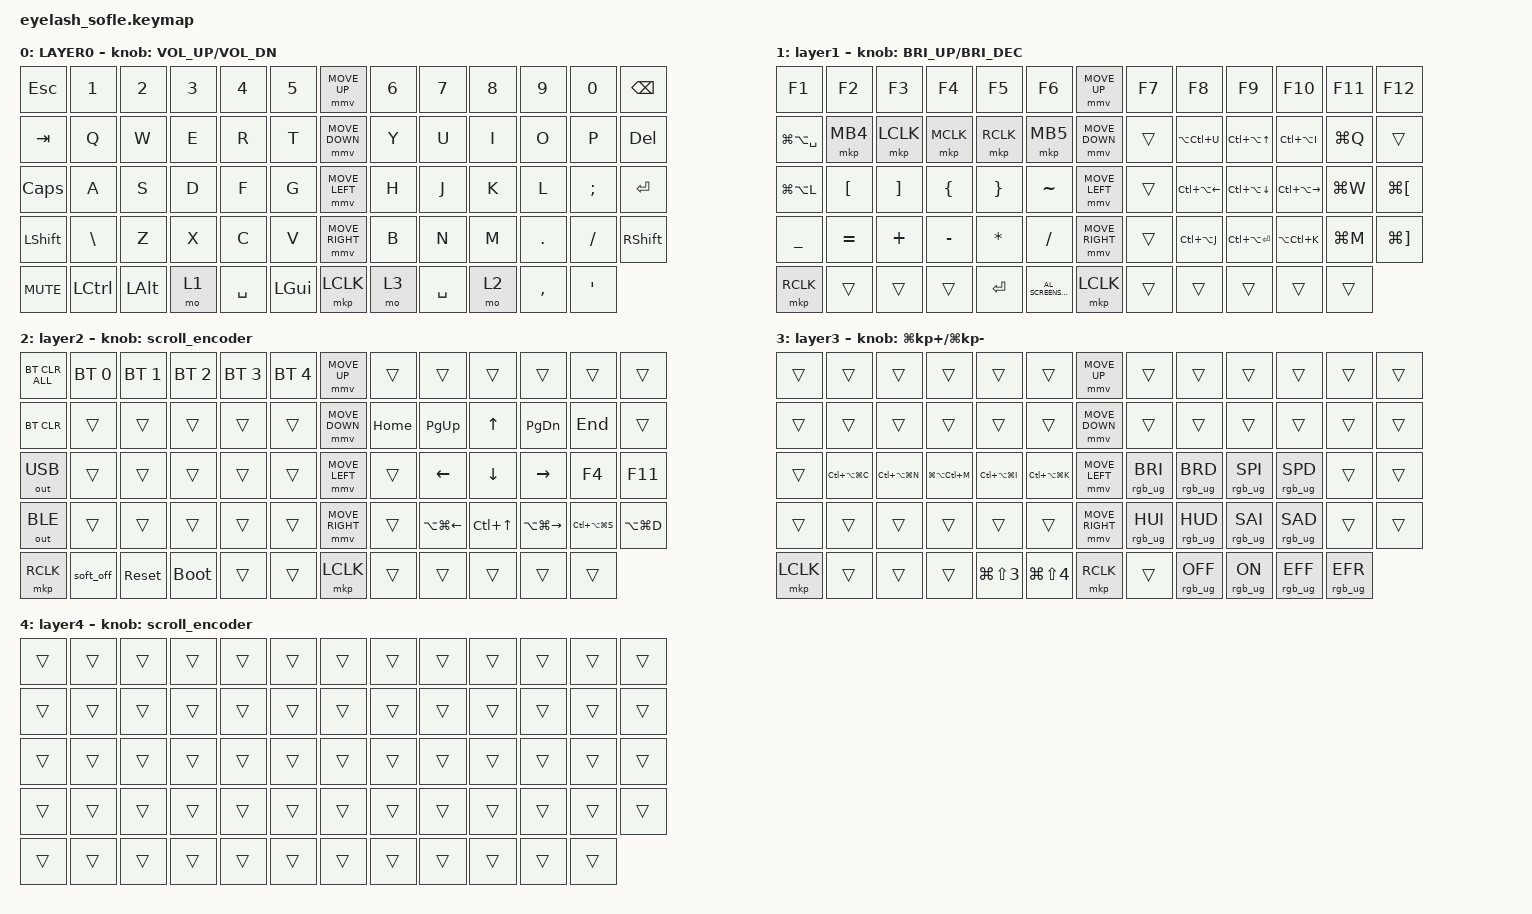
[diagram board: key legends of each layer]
#define ZMK_POINTING_DEFAULT_MOVE_VAL 1200  // 600
#define ZMK_POINTING_DEFAULT_SCRL_VAL 25   // 10

#include <input/processors.dtsi>
#include <zephyr/dt-bindings/input/input-event-codes.h>
#include <behaviors.dtsi>
#include <dt-bindings/zmk/bt.h>
#include <dt-bindings/zmk/keys.h>
#include <dt-bindings/zmk/outputs.h>
#include <dt-bindings/zmk/pointing.h>
#include <dt-bindings/zmk/rgb.h>

&mmv_input_listener { input-processors = <&zip_xy_scaler 2 1>; };

&msc_input_listener { input-processors = <&zip_scroll_scaler 2 1>; };

&msc {
    acceleration-exponent = <1>;      // 0
    time-to-max-speed-ms = <100>;       // 300
    delay-ms = <0>;                   // 0
};

&mmv {
    time-to-max-speed-ms = <500>;
    acceleration-exponent = <1>;
    trigger-period-ms = <16>;
};

&soft_off { hold-time-ms = <2000>; };

/ {
    scroll_encoder: scroll_encoder {
        compatible = "zmk,behavior-sensor-rotate";
        #sensor-binding-cells = <0>;
        bindings = <&msc SCRL_DOWN>, <&msc SCRL_UP>;

        tap-ms = <100>;
    };

    behaviors {
    };

    combos {
        compatible = "zmk,combos";

        softoff {
            bindings = <&soft_off>;
            key-positions = <14 28 40>;
        };
    };

    macros {
        SHIFT_MCLK: SHIFT_MCLK {
            compatible = "zmk,behavior-macro";
            #binding-cells = <0>;
            bindings =
                <&macro_press>,
                <&kp LEFT_SHIFT>,
                <&macro_press>,
                <&mkp MB3>,
                <&macro_pause_for_release>,
                <&macro_release>,
                <&kp LEFT_SHIFT &mkp MB3>;

            label = "SHIFT_MCLK";
        };
    };

    keymap {
        compatible = "zmk,keymap";

        layer0 {
            bindings = <
&kp ESC     &kp N1     &kp N2        &kp N3  &kp N4     &kp N5          &mmv MOVE_UP     &kp N6  &kp N7     &kp N8  &kp N9     &kp N0    &kp BACKSPACE
&kp TAB     &kp Q      &kp W         &kp E   &kp R      &kp T           &mmv MOVE_DOWN   &kp Y   &kp U      &kp I   &kp O      &kp P     &kp DEL
&kp CAPS    &kp A      &kp S         &kp D   &kp F      &kp G           &mmv MOVE_LEFT   &kp H   &kp J      &kp K   &kp L      &kp SEMI  &kp ENTER
&kp LSHFT   &kp BSLH   &kp Z         &kp X   &kp C      &kp V           &mmv MOVE_RIGHT  &kp B   &kp N      &kp M   &kp DOT    &kp FSLH  &kp RSHIFT
&kp C_MUTE  &kp LCTRL  &kp LEFT_ALT  &mo 1   &kp SPACE  &kp LEFT_GUI    &mkp LCLK        &mo 3   &kp SPACE  &mo 2   &kp COMMA  &kp APOS
            >;

            sensor-bindings = <&inc_dec_kp C_VOLUME_UP C_VOL_DN>;
            display-name = "LAYER0";
        };

        layer_1 {
            bindings = <
&kp F1             &kp F2            &kp F3             &kp F4          &kp F5           &kp F6                  &mmv MOVE_UP     &kp F7  &kp F8            &kp F9             &kp F10            &kp F11    &kp F12
&kp LG(LA(SPACE))  &mkp MB4          &mkp LCLK          &mkp MCLK       &mkp RCLK        &mkp MB5                &mmv MOVE_DOWN   &trans  &kp LA(LC(U))     &kp LC(LA(UP))     &kp LC(LA(I))      &kp LG(Q)  &trans
&kp LG(LA(L))      &kp LEFT_BRACKET  &kp RIGHT_BRACKET  &kp LEFT_BRACE  &kp RIGHT_BRACE  &kp TILDE               &mmv MOVE_LEFT   &trans  &kp LC(LA(LEFT))  &kp LC(LA(DOWN))   &kp LC(LA(RIGHT))  &kp LG(W)  &kp LG(LEFT_BRACKET)
&kp UNDERSCORE     &kp EQUAL         &kp PLUS           &kp MINUS       &kp ASTERISK     &kp FSLH                &mmv MOVE_RIGHT  &trans  &kp LC(LA(J))     &kp LC(LA(ENTER))  &kp LA(LC(K))      &kp LG(M)  &kp LG(RIGHT_BRACKET)
&mkp RCLK          &trans            &trans             &trans          &kp ENTER        &kp C_AL_SCREENSAVER    &mkp LCLK        &trans  &trans            &trans             &trans             &trans
            >;

            display-name = "layer1";
            sensor-bindings = <&inc_dec_kp C_BRI_UP C_BRI_DEC>;
        };

        layer_2 {
            bindings = <
&bt BT_CLR_ALL  &bt BT_SEL 0  &bt BT_SEL 1  &bt BT_SEL 2  &bt BT_SEL 3  &bt BT_SEL 4    &mmv MOVE_UP     &trans    &trans            &trans      &trans             &trans             &trans
&bt BT_CLR      &trans        &trans        &trans        &trans        &trans          &mmv MOVE_DOWN   &kp HOME  &kp PAGE_UP       &kp UP      &kp PAGE_DOWN      &kp END            &trans
&out OUT_USB    &trans        &trans        &trans        &trans        &trans          &mmv MOVE_LEFT   &trans    &kp LEFT          &kp DOWN    &kp RIGHT          &kp F4             &kp F11
&out OUT_BLE    &trans        &trans        &trans        &trans        &trans          &mmv MOVE_RIGHT  &trans    &kp LA(LG(LEFT))  &kp LC(UP)  &kp LA(LG(RIGHT))  &kp LC(LA(LG(S)))  &kp LA(LG(D))
&mkp RCLK       &soft_off     &sys_reset    &bootloader   &trans        &trans          &mkp LCLK        &trans    &trans            &trans      &trans             &trans
            >;

            display-name = "layer2";
            sensor-bindings = <&scroll_encoder>;
        };

        layer_3 {
            bindings = <
&trans     &trans             &trans             &trans             &trans             &trans               &mmv MOVE_UP     &trans           &trans           &trans           &trans           &trans           &trans
&trans     &trans             &trans             &trans             &trans             &trans               &mmv MOVE_DOWN   &trans           &trans           &trans           &trans           &trans           &trans
&trans     &kp LC(LA(LG(C)))  &kp LC(LA(LG(N)))  &kp LG(LA(LC(M)))  &kp LC(LA(LG(I)))  &kp LC(LA(LG(K)))    &mmv MOVE_LEFT   &rgb_ug RGB_BRI  &rgb_ug RGB_BRD  &rgb_ug RGB_SPI  &rgb_ug RGB_SPD  &trans           &trans
&trans     &trans             &trans             &trans             &trans             &trans               &mmv MOVE_RIGHT  &rgb_ug RGB_HUI  &rgb_ug RGB_HUD  &rgb_ug RGB_SAI  &rgb_ug RGB_SAD  &trans           &trans
&mkp LCLK  &trans             &trans             &trans             &kp LG(LS(N3))     &kp LG(LS(N4))       &mkp RCLK        &trans           &rgb_ug RGB_OFF  &rgb_ug RGB_ON   &rgb_ug RGB_EFF  &rgb_ug RGB_EFR
            >;

            display-name = "layer3";
            sensor-bindings = <&inc_dec_kp LG(KP_PLUS) LG(KP_MINUS)>;
        };

        layer_4 {
            bindings = <
&trans  &trans  &trans  &trans  &trans  &trans    &trans  &trans  &trans  &trans  &trans  &trans  &trans
&trans  &trans  &trans  &trans  &trans  &trans    &trans  &trans  &trans  &trans  &trans  &trans  &trans
&trans  &trans  &trans  &trans  &trans  &trans    &trans  &trans  &trans  &trans  &trans  &trans  &trans
&trans  &trans  &trans  &trans  &trans  &trans    &trans  &trans  &trans  &trans  &trans  &trans  &trans
&trans  &trans  &trans  &trans  &trans  &trans    &trans  &trans  &trans  &trans  &trans  &trans
            >;

            display-name = "layer4";
            sensor-bindings = <&scroll_encoder>;
        };
    };
};
